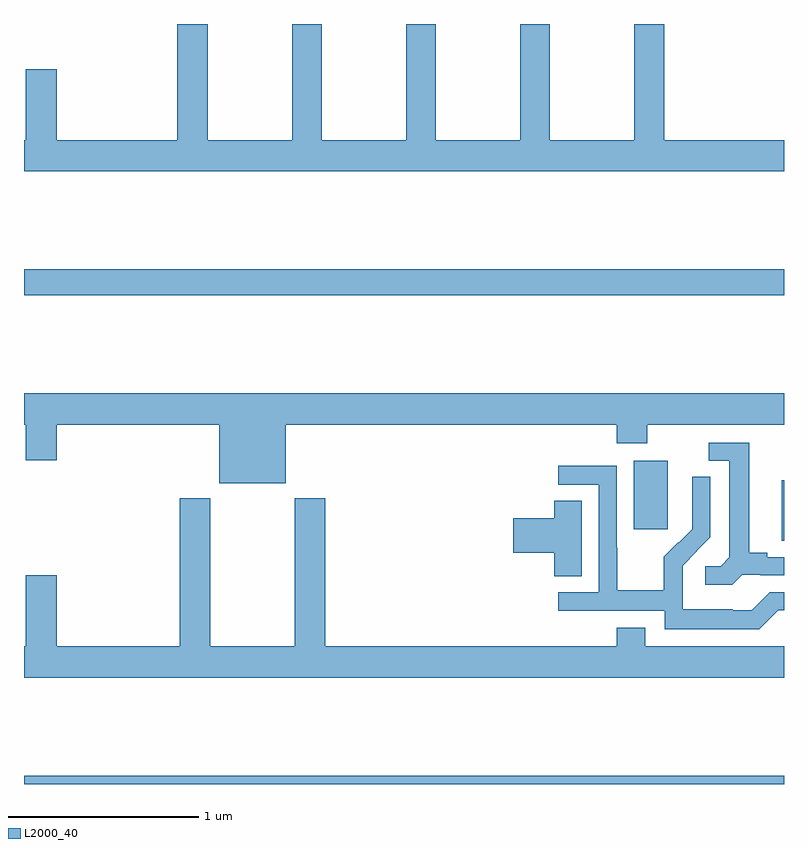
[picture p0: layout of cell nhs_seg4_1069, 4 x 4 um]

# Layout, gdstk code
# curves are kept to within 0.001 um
import gdstk
lib = gdstk.Library(unit=1e-6, precision=1e-09)
def R(c, l, rs):  # rectangles x0, y0, x1, y1
    for r in rs: c.add(gdstk.rectangle(r[:2], r[2:], *l))
def P(c, l, *ps):  # polygons
    for p in ps: c.add(gdstk.Polygon(p, *l))
L2000_40 = (2000, 40)

nhs_seg4_1069 = lib.new_cell('nhs_seg4_1069')
R(nhs_seg4_1069, L2000_40, [(165,822.9,169,822.944), (168.989,824.179,169,824.499), (168.209,824.241,168.388,824.602), (165,825.472,169,825.608)])
P(nhs_seg4_1069, L2000_40, [(169,826.288),(168.371,826.288),(168.371,826.9),(168.211,826.9),(168.211,826.288),(167.766,826.288),(167.766,826.9),(167.611,826.9),(167.611,826.288),(167.166,826.288),(167.166,826.9),(167.011,826.9),(167.011,826.288),(166.566,826.288),(166.566,826.9),(166.411,826.9),(166.411,826.288),(165.966,826.288),(165.966,826.9),(165.806,826.9),(165.806,826.288),(165.172,826.288),(165.172,826.663),(165.008,826.663),(165.008,826.288),(165,826.288),(165,826.124),(169,826.124)],
  [(166.378,824.792),(168.119,824.792),(168.119,824.693),(168.279,824.693),(168.279,824.792),(169,824.792),(169,824.956),(165,824.956),(165,824.792),(165.008,824.792),(165.008,824.604),(165.172,824.604),(165.172,824.792),(166.028,824.792),(166.028,824.483),(166.378,824.483)],
  [(168.78,824.001),(168.874,824.001),(168.874,823.998),(169,823.998),(169,824.094),(168.913,824.094),(168.913,824.117),(168.817,824.117),(168.817,824.697),(168.603,824.697),(168.603,824.601),(168.713,824.601),(168.713,824.093),(168.666,824.046),(168.585,824.046),(168.585,823.949),(168.728,823.949)],
  [(168.969,823.815),(169,823.815),(169,823.908),(168.924,823.908),(168.831,823.815),(168.731,823.815),(168.731,823.819),(168.468,823.819),(168.468,823.953),(168.466,823.953),(168.466,824.05),(168.612,824.198),(168.612,824.516),(168.516,824.516),(168.516,824.362),(168.518,824.362),(168.518,824.24),(168.447,824.169),(168.444,824.172),(168.367,824.095),(168.367,823.921),(168.123,823.921),(168.123,824.144),(168.12,824.144),(168.12,824.574),(167.811,824.574),(167.811,824.475),(168.024,824.475),(168.024,823.908),(167.811,823.908),(167.811,823.812),(168.372,823.812),(168.372,823.715),(168.869,823.715)],
  [(169,823.624),(168.271,823.624),(168.271,823.723),(168.119,823.723),(168.119,823.624),(166.586,823.624),(166.586,824.404),(166.426,824.404),(166.426,823.624),(165.981,823.624),(165.981,824.404),(165.821,824.404),(165.821,823.624),(165.172,823.624),(165.172,823.999),(165.008,823.999),(165.008,823.624),(165,823.624),(165,823.46),(169,823.46)],
  [(167.935,824.39),(167.792,824.39),(167.792,824.3),(167.574,824.3),(167.574,824.117),(167.792,824.117),(167.792,823.993),(167.935,823.993)])

lib.write_gds('nhs_seg4_1069.gds')
